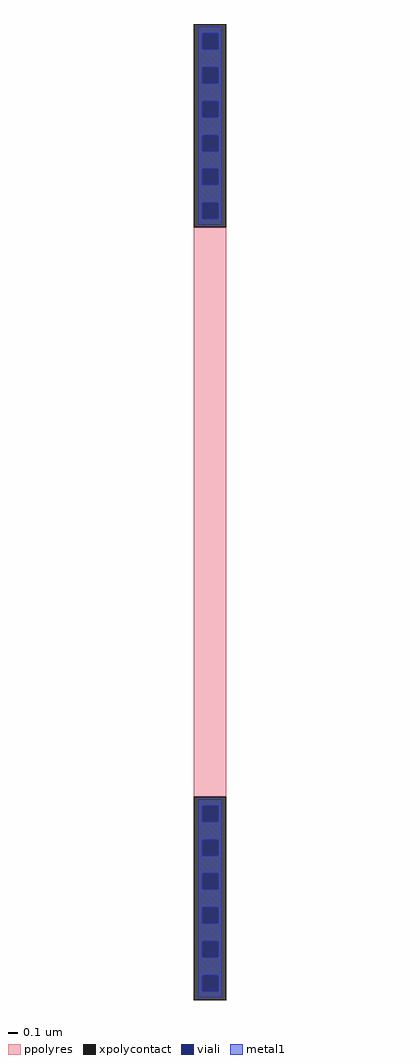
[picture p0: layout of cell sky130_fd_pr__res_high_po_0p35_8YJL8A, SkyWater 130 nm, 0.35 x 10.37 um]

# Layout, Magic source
magic
tech sky130A
magscale 1 2
<< xpolycontact >>
rect -35 605 35 1037
rect -35 -1037 35 -605
<< ppolyres >>
rect -35 -605 35 605
<< viali >>
rect -17 983 17 1017
rect -17 911 17 945
rect -17 839 17 873
rect -17 767 17 801
rect -17 695 17 729
rect -17 623 17 657
rect -17 -658 17 -624
rect -17 -730 17 -696
rect -17 -802 17 -768
rect -17 -874 17 -840
rect -17 -946 17 -912
rect -17 -1018 17 -984
<< metal1 >>
rect -25 1017 25 1031
rect -25 983 -17 1017
rect 17 983 25 1017
rect -25 945 25 983
rect -25 911 -17 945
rect 17 911 25 945
rect -25 873 25 911
rect -25 839 -17 873
rect 17 839 25 873
rect -25 801 25 839
rect -25 767 -17 801
rect 17 767 25 801
rect -25 729 25 767
rect -25 695 -17 729
rect 17 695 25 729
rect -25 657 25 695
rect -25 623 -17 657
rect 17 623 25 657
rect -25 610 25 623
rect -25 -624 25 -610
rect -25 -658 -17 -624
rect 17 -658 25 -624
rect -25 -696 25 -658
rect -25 -730 -17 -696
rect 17 -730 25 -696
rect -25 -768 25 -730
rect -25 -802 -17 -768
rect 17 -802 25 -768
rect -25 -840 25 -802
rect -25 -874 -17 -840
rect 17 -874 25 -840
rect -25 -912 25 -874
rect -25 -946 -17 -912
rect 17 -946 25 -912
rect -25 -984 25 -946
rect -25 -1018 -17 -984
rect 17 -1018 25 -984
rect -25 -1031 25 -1018
<< end >>
